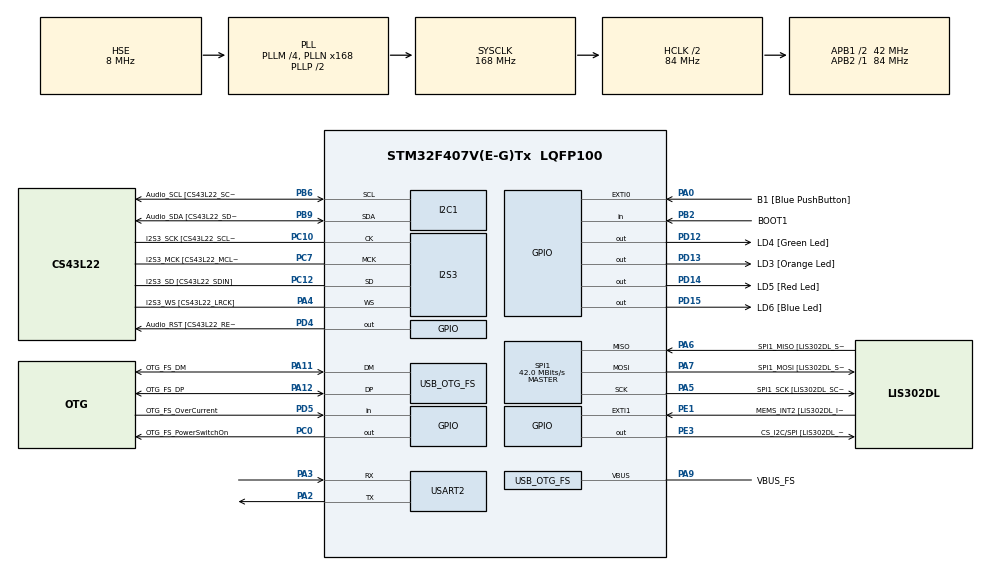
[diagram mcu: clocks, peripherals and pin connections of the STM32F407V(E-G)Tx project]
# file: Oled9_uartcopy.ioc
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I2C1.I2C_Mode=I2C_Fast
I2S3.AudioFreq=I2S_AUDIOFREQ_16K
I2S3.AudioFreq-Half_Duplex_Master=I2S_AUDIOFREQ_96K
I2S3.ErrorAudioFreq=1.72 %
I2S3.ErrorAudioFreq-Half_Duplex_Master=0.8 %
I2S3.FullDuplexMode=I2S_FULLDUPLEXMODE_DISABLE
I2S3.Instance=SPI$Index
I2S3.RealAudioFreq=16.276 KHz
I2S3.RealAudioFreq-Half_Duplex_Master=96.774 KHz
I2S3.VirtualMode=I2S_MODE_MASTER
Mcu.Family=STM32F4
Mcu.Name=STM32F407V(E-G)Tx
Mcu.Package=LQFP100
NVIC.OTG_FS_IRQn=true\:0\:0\:false\:false\:true\:true\:true\:true
NVIC.PriorityGroup=NVIC_PRIORITYGROUP_0
PA0-WKUP.GPIO_Label=B1 [Blue PushButton]
PA0-WKUP.GPIO_ModeDefaultEXTI=GPIO_MODE_EVT_RISING
PA0-WKUP.GPIO_PuPd=GPIO_NOPULL
PA0-WKUP.Signal=GPXTI0
PA10.GPIO_Label=OTG_FS_ID
PA10.GPIO_Mode=GPIO_MODE_AF_PP
PA10.GPIO_PuPd=GPIO_NOPULL
PA10.GPIO_Speed=GPIO_SPEED_FREQ_LOW
PA10.Signal=USB_OTG_FS_ID
PA11.GPIO_Label=OTG_FS_DM
PA11.GPIO_Mode=GPIO_MODE_AF_PP
PA11.GPIO_PuPd=GPIO_NOPULL
PA11.GPIO_Speed=GPIO_SPEED_FREQ_LOW
PA11.Mode=Host_Only
PA11.Signal=USB_OTG_FS_DM
PA12.GPIO_Label=OTG_FS_DP
PA12.GPIO_Mode=GPIO_MODE_AF_PP
PA12.GPIO_PuPd=GPIO_NOPULL
PA12.GPIO_Speed=GPIO_SPEED_FREQ_LOW
PA12.Mode=Host_Only
PA12.Signal=USB_OTG_FS_DP
PA13.GPIO_Label=SWDIO
PA13.Mode=Serial_Wire
PA13.Signal=SYS_JTMS-SWDIO
PA14.GPIO_Label=SWCLK
PA14.Mode=Serial_Wire
PA14.Signal=SYS_JTCK-SWCLK
PA2.Mode=Asynchronous
PA2.Signal=USART2_TX
PA3.Mode=Asynchronous
PA3.Signal=USART2_RX
PA4.GPIO_Label=I2S3_WS [CS43L22_LRCK]
PA4.GPIO_Mode=GPIO_MODE_AF_PP
PA4.GPIO_PuPd=GPIO_NOPULL
PA4.GPIO_Speed=GPIO_SPEED_FREQ_LOW
PA4.Mode=Half_Duplex_Master
PA4.Signal=I2S3_WS
PA5.GPIO_Label=SPI1_SCK [LIS302DL_SCL/SPC]
PA5.GPIO_Mode=GPIO_MODE_AF_PP
PA5.GPIO_PuPd=GPIO_NOPULL
PA5.GPIO_Speed=GPIO_SPEED_FREQ_LOW
PA5.Mode=Full_Duplex_Master
PA5.Signal=SPI1_SCK
PA6.GPIO_Label=SPI1_MISO [LIS302DL_SDO]
PA6.GPIO_Mode=GPIO_MODE_AF_PP
PA6.GPIO_PuPd=GPIO_NOPULL
PA6.GPIO_Speed=GPIO_SPEED_FREQ_LOW
PA6.Mode=Full_Duplex_Master
PA6.Signal=SPI1_MISO
PA7.GPIO_Label=SPI1_MOSI [LIS302DL_SDA/SDI/SDO]
PA7.GPIO_Mode=GPIO_MODE_AF_PP
PA7.GPIO_PuPd=GPIO_NOPULL
PA7.GPIO_Speed=GPIO_SPEED_FREQ_LOW
PA7.Mode=Full_Duplex_Master
PA7.Signal=SPI1_MOSI
PA9.GPIO_Label=VBUS_FS
PA9.GPIO_Mode=GPIO_MODE_INPUT
PA9.GPIO_PuPd=GPIO_NOPULL
PA9.Mode=Activate_VBUS
PA9.Signal=USB_OTG_FS_VBUS
PB10.GPIO_Label=CLK_IN [MP45DT02_CLK]
PB10.GPIO_Mode=GPIO_MODE_AF_PP
PB10.GPIO_PuPd=GPIO_NOPULL
PB10.GPIO_Speed=GPIO_SPEED_FREQ_LOW
PB10.Signal=I2S2_CK
PB2.GPIO_Label=BOOT1
PB2.GPIO_Mode=GPIO_MODE_INPUT
PB2.GPIO_PuPd=GPIO_NOPULL
PB2.Signal=GPIO_Input
PB3.GPIO_Label=SWO
PB3.Signal=SYS_JTDO-SWO
PB6.GPIO_Label=Audio_SCL [CS43L22_SCL]
PB6.GPIO_Mode=GPIO_MODE_AF_OD
PB6.GPIO_Pu=GPIO_PULLUP
PB6.GPIO_PuPd=GPIO_NOPULL
PB6.GPIO_Speed=GPIO_SPEED_FREQ_LOW
PB6.Mode=I2C
PB6.Signal=I2C1_SCL
PB9.GPIO_Label=Audio_SDA [CS43L22_SDA]
PB9.GPIO_Mode=GPIO_MODE_AF_OD
PB9.GPIO_Pu=GPIO_PULLUP
PB9.GPIO_PuPd=GPIO_NOPULL
PB9.GPIO_Speed=GPIO_SPEED_FREQ_LOW
PB9.Mode=I2C
PB9.Signal=I2C1_SDA
PC0.GPIO_Label=OTG_FS_PowerSwitchOn
PC0.GPIO_PuPd=GPIO_NOPULL
PC0.GPIO_Speed=GPIO_SPEED_FREQ_LOW
PC0.PinState=GPIO_PIN_SET
PC0.Signal=GPIO_Output
PC10.GPIO_Label=I2S3_SCK [CS43L22_SCLK]
PC10.GPIO_Mode=GPIO_MODE_AF_PP
PC10.GPIO_PuPd=GPIO_NOPULL
PC10.GPIO_Speed=GPIO_SPEED_FREQ_LOW
PC10.Mode=Half_Duplex_Master
PC10.Signal=I2S3_CK
PC12.GPIO_Label=I2S3_SD [CS43L22_SDIN]
PC12.GPIO_Mode=GPIO_MODE_AF_PP
PC12.GPIO_PuPd=GPIO_NOPULL
PC12.GPIO_Speed=GPIO_SPEED_FREQ_LOW
PC12.Mode=Half_Duplex_Master
PC12.Signal=I2S3_SD
PC14-OSC32_IN.GPIO_Label=PC14-OSC32_IN
PC14-OSC32_IN.Mode=LSE-External-Oscillator
PC14-OSC32_IN.Signal=RCC_OSC32_IN
PC15-OSC32_OUT.GPIO_Label=PC15-OSC32_OUT
PC15-OSC32_OUT.Mode=LSE-External-Oscillator
PC15-OSC32_OUT.Signal=RCC_OSC32_OUT
PC3.GPIO_Label=PDM_OUT [MP45DT02_DOUT]
PC3.GPIO_Mode=GPIO_MODE_AF_PP
PC3.GPIO_PuPd=GPIO_NOPULL
PC3.GPIO_Speed=GPIO_SPEED_FREQ_LOW
PC3.Signal=I2S2_SD
PC7.GPIO_Label=I2S3_MCK [CS43L22_MCLK]
PC7.GPIO_Mode=GPIO_MODE_AF_PP
PC7.GPIO_PuPd=GPIO_NOPULL
PC7.GPIO_Speed=GPIO_SPEED_FREQ_LOW
PC7.Mode=Master_Clock_Activated
PC7.Signal=I2S3_MCK
PD12.GPIO_Label=LD4 [Green Led]
PD12.GPIO_PuPd=GPIO_NOPULL
PD12.GPIO_Speed=GPIO_SPEED_FREQ_LOW
PD12.Signal=GPIO_Output
PD13.GPIO_Label=LD3 [Orange Led]
PD13.GPIO_PuPd=GPIO_NOPULL
PD13.GPIO_Speed=GPIO_SPEED_FREQ_LOW
PD13.Signal=GPIO_Output
PD14.GPIO_Label=LD5 [Red Led]
PD14.GPIO_PuPd=GPIO_NOPULL
PD14.GPIO_Speed=GPIO_SPEED_FREQ_LOW
PD14.Signal=GPIO_Output
PD15.GPIO_Label=LD6 [Blue Led]
PD15.GPIO_PuPd=GPIO_NOPULL
PD15.GPIO_Speed=GPIO_SPEED_FREQ_LOW
PD15.Signal=GPIO_Output
PD4.GPIO_Label=Audio_RST [CS43L22_RESET]
PD4.GPIO_PuPd=GPIO_NOPULL
PD4.GPIO_Speed=GPIO_SPEED_FREQ_LOW
PD4.Signal=GPIO_Output
PD5.GPIO_Label=OTG_FS_OverCurrent
PD5.GPIO_Mode=GPIO_MODE_INPUT
PD5.GPIO_PuPd=GPIO_NOPULL
PD5.Signal=GPIO_Input
PE1.GPIO_Label=MEMS_INT2 [LIS302DL_INT2]
PE1.GPIO_ModeDefaultEXTI=GPIO_MODE_EVT_RISING
PE1.GPIO_PuPd=GPIO_NOPULL
PE1.Signal=GPXTI1
PE3.GPIO_Label=CS_I2C/SPI [LIS302DL_CS_I2C/SPI]
PE3.GPIO_PuPd=GPIO_NOPULL
PE3.GPIO_Speed=GPIO_SPEED_FREQ_LOW
PE3.Signal=GPIO_Output
PH0-OSC_IN.GPIO_Label=PH0-OSC_IN
PH0-OSC_IN.Mode=HSE-External-Oscillator
PH0-OSC_IN.Signal=RCC_OSC_IN
PH1-OSC_OUT.GPIO_Label=PH1-OSC_OUT
PH1-OSC_OUT.Mode=HSE-External-Oscillator
PH1-OSC_OUT.Signal=RCC_OSC_OUT
ProjectManager.HeapSize=0x200
ProjectManager.StackSize=0x400
ProjectManager.TargetToolchain=STM32CubeIDE
RCC.48MHZClocksFreq_Value=48000000
RCC.AHBCLKDivider=RCC_SYSCLK_DIV2
RCC.AHBFreq_Value=84000000
RCC.APB1CLKDivider=RCC_HCLK_DIV2
RCC.APB1Freq_Value=42000000
RCC.APB1TimFreq_Value=84000000
RCC.APB2Freq_Value=84000000
RCC.APB2TimFreq_Value=84000000
RCC.CortexFreq_Value=84000000
RCC.HCLKFreq_Value=84000000
RCC.HSE_VALUE=8000000
RCC.HSI_VALUE=16000000
RCC.PLLI2SN=50
RCC.PLLM=4
RCC.PLLN=168
RCC.PLLQ=7
RCC.SYSCLKFreq_VALUE=168000000
RCC.SYSCLKSource=RCC_SYSCLKSOURCE_PLLCLK
RCC.VCOOutputFreq_Value=336000000
SPI1.BaudRatePrescaler=SPI_BAUDRATEPRESCALER_2
SPI1.BaudRatePrescaler-Full_Duplex_Master=SPI_BAUDRATEPRESCALER_2
SPI1.CalculateBaudRate=42.0 MBits/s
SPI1.CalculateBaudRate-Full_Duplex_Master=42.0 MBits/s
SPI1.Direction=SPI_DIRECTION_2LINES
SPI1.Mode=SPI_MODE_MASTER
SPI1.Mode-Full_Duplex_Master=SPI_MODE_MASTER
SPI1.VirtualType=VM_MASTER
USART2.VirtualMode=VM_ASYNC
USB_HOST.BSP.number=1
USB_HOST.USBH_HandleTypeDef-CDC_FS=hUsbHostFS
USB_HOST.VirtualModeFS=Cdc
USB_HOST0.BSP.STBoard=false
USB_HOST0.BSP.api=Unknown
USB_HOST0.BSP.instance=PC0
USB_HOST0.BSP.ip=GPIO
USB_HOST0.BSP.mode=Output
USB_HOST0.BSP.name=Drive_VBUS_FS
USB_HOST0.BSP.solution=PC0
USB_OTG_FS.VirtualMode=Host_Only
USB_OTG_FS.phy_itface=HCD_PHY_EMBEDDED
VP_USB_HOST_VS_USB_HOST_CDC_FS.Mode=CDC_FS
board=STM32F407G-DISC1

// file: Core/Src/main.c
/* USER CODE BEGIN Header */
/**
  ******************************************************************************
  * @file           : main.c
  * @brief          : Main program body
  ******************************************************************************
  * @attention
  *
  * Copyright (c) 2024 STMicroelectronics.
  * All rights reserved.
  *
  * This software is licensed under terms that can be found in the LICENSE file
  * in the root directory of this software component.
  * If no LICENSE file comes with this software, it is provided AS-IS.
  *
  ******************************************************************************
  */
/* USER CODE END Header */
#include "main.h"
#include "usb_host.h"

/* USER CODE BEGIN Includes */
#include "ssd1306.h"
#include "ssd1306_fonts.h"
#include "string.h"

// Button pin definitions
// Button pin definitions
#define BUTTON_UP_PIN  GPIO_PIN_0
#define BUTTON_DOWN_PIN  GPIO_PIN_2
#define BUTTON_SELECT_PIN  GPIO_PIN_4
#define BUTTON_PORT GPIOD
/* USER CODE END Includes */

I2C_HandleTypeDef hi2c1;

I2S_HandleTypeDef hi2s3;

SPI_HandleTypeDef hspi1;

UART_HandleTypeDef huart2;

void SystemClock_Config(void);
static void MX_GPIO_Init(void);
static void MX_I2C1_Init(void);
static void MX_I2S3_Init(void);
static void MX_SPI1_Init(void);
static void MX_USART2_UART_Init(void);
void MX_USB_HOST_Process(void);

int main(void)
{

  /* USER CODE BEGIN 1 */

	//global aşama seç değişkenleri tanımlanıyor:
	//burada şimdi kontrol tanımlama
    int sayac1=0;
	// Diğer değişken tanımlamaları
	int yukaributonbas;
	int asagibutonbas;
	int onaybutonbas;
	int art = 0;
	int mantik = 1;
	int screen_switch = 0;
	int menu2 = 0;
	int state = 1;
	int control = 0;
	int rtnMainPage = 1;//rtnMainpage 1 yaptım ürün ve zaman yönetimine girsin diye
	int upbuton = 0;
	int bottombuton = 0;
	int pagecroos = 0;
	int choseProduct = 0;
	char* products[] = {"pano sistem ", "dataloger", "pompa sistem","geri"};
	int productscounter[]={-1,-1,-1};//üretilen ürün sayısı dizisi
	int giris=0;
	int control_cikis=0;
	int cnttime=0;
	int  whichMonths[]={0,0,0};

	// Global KESME değişkenlerİ
	char rxBuffer[256]; // 256 baytlık veri tamponu
	extern UART_HandleTypeDef huart2;

  /* USER CODE END 1 */

  /* MCU Configuration--------------------------------------------------------*/

  /* Reset of all peripherals, Initializes the Flash interface and the Systick. */
  HAL_Init();

  /* Configure the system clock */
  SystemClock_Config();

  /* Initialize all configured peripherals */
  MX_GPIO_Init();
  MX_I2C1_Init();
  MX_I2S3_Init();
  MX_SPI1_Init();
  MX_USB_HOST_Init();
  MX_USART2_UART_Init();
  /* USER CODE BEGIN 2 */
  ssd1306_Init();
  ssd1306_Fill(White);
  ssd1306_UpdateScreen();

  /* USER CODE END 2 */

  /* Infinite loop */
  /* USER CODE BEGIN WHILE */
  // Önceki buton durumlarını saklamak için değişkenler
       int prevButtonState1 = 0;
       int prevButtonState2 = 0;
       int prevButtonState3 = 0;

       // LED durumlarını saklamak için değişkenler
       int ledState1 = 0;
       int ledState2 = 0;
       int ledState3 = 0;
       //MENU SAYACI
       int menu = 0;

//TAHMİN KESMESİ
       // UART kesme geri çağırma fonksiyonu
       void HAL_UART_RxCpltCallback(UART_HandleTypeDef *huart) {
           if (huart->Instance == USART2) {
               // OLED ekranı temizle ve veri yazdır
               ssd1306_Fill(Black);
               ssd1306_SetCursor(0, 0);
               SSD1306_Puts(rxBuffer, &Font_7x10, 1);
               ssd1306_UpdateScreen();

               // Veri üzerinde tahmin yap
               PredictFunc(rxBuffer);

               // Buffer'ı temizle
               memset(rxBuffer, 0, sizeof(rxBuffer));

               // Tekrar veri alımını başlat
               HAL_UART_Receive_IT(&huart2, (uint8_t*)rxBuffer, sizeof(rxBuffer));
           }
       }

       void updateDisplay(int menu)
       {
           ssd1306_Fill(Black);
           ssd1306_SetCursor(0, 0);
           ssd1306_WriteString("is Sistemi\n", Font_7x10, White);
           if (menu == 0)
           {
               ssd1306_SetCursor(0, 20);
               ssd1306_WriteString("> tahminler\n", Font_7x10, White);
               ssd1306_SetCursor(0, 30);
               ssd1306_WriteString("urunler\n", Font_7x10, White);
           }
           else if (menu == 1)
           {
               ssd1306_SetCursor(0, 20);
               ssd1306_WriteString("tahminler\n", Font_7x10, White);
               ssd1306_SetCursor(0, 30);
               ssd1306_WriteString("> urunler\n", Font_7x10, White);
           }
           ssd1306_UpdateScreen();
       }
//burada ay şeçim işlemleri yapılıyor
       void TimeManager(int whichPrd) {
           printf("time manager       time manager\n");
           ssd1306_WriteString("Ay Secimi", Font_7x10, White);

           int twoCntOnayBtn = 0;
           int cnt = 0;
           cnttime++;
           while(cnttime > 1) {
               // Ekran özelliklerini belirle
               ssd1306_Fill(Black); // Ekranı temizle
               ssd1306_SetCursor(0, 40); // İmleci konumlandır

               // Yukarı buton basma durumu
               if(HAL_GPIO_ReadPin(BUTTON_PORT, BUTTON_UP_PIN) == GPIO_PIN_SET) {
                   cnt++;
                   if(cnt >= 9) {
                       cnt = 9;
                   }
               }

               // Aşağı buton basma durumu
               if(HAL_GPIO_ReadPin(BUTTON_PORT, BUTTON_DOWN_PIN) == GPIO_PIN_SET) {
                   cnt--;
                   if(cnt <= 0) {
                       cnt = 1;
                   }
               }

               // Onay butonu basma durumu
               if(HAL_GPIO_ReadPin(BUTTON_PORT, BUTTON_SELECT_PIN) == GPIO_PIN_SET) {
                   twoCntOnayBtn++;
                   if(twoCntOnayBtn > 1) {
                       cnttime = 0;
                       rtnMainPage = 0;
                       break;
                   }
               }

               // Ayları ekrana yazdır
               switch(cnt) {
                   case 1:
                       whichMonths[whichPrd] = 1;
                       ssd1306_WriteString("ocak", Font_7x10, White);
                       break;
                   case 2:
                       whichMonths[whichPrd] = 2;
                       ssd1306_WriteString("subat", Font_7x10, White);
                       break;
                   case 3:
                       whichMonths[whichPrd] = 3;
                       ssd1306_WriteString("mart", Font_7x10, White);
                       break;
                   case 4:
                       whichMonths[whichPrd] = 4;
                       ssd1306_WriteString("nisan", Font_7x10, White);
                       break;
                   case 5:
                       whichMonths[whichPrd] = 5;
                       ssd1306_WriteString("mayis", Font_7x10, White);
                       break;
                   case 6:
                       whichMonths[whichPrd] = 6;
                       ssd1306_WriteString("haziran", Font_7x10, White);
                       break;
                   case 7:
                       whichMonths[whichPrd] = 7;
                       ssd1306_WriteString("temmuz", Font_7x10, White);
                       break;
                   case 8:
                       whichMonths[whichPrd] = 8;
                       ssd1306_WriteString("agustos", Font_7x10, White);
                       break;
                   case 9:
                       whichMonths[whichPrd] = 9;
                       ssd1306_WriteString("eylul", Font_7x10, White);
                       break;
               }

               // Ekranı güncelle
               ssd1306_UpdateScreen();
               HAL_Delay(200);
           }
       }

       void ProductManager(int whichproduct) {
           printf("Product Manager\n");
           int uretilenproduct = productscounter[whichproduct];
           int cntrmanage = 0;

           while (control_cikis) {
               ssd1306_Fill(Black); // Ekranı temizle
               ssd1306_SetCursor(0, 16); // Başlangıç konumu

               if(productscounter[whichproduct] < 0) {
                   productscounter[whichproduct] = 0;
               }

               if (cntrmanage == 0) {
                   char buffer[20];
                   sprintf(buffer, ">artir %d     ", productscounter[whichproduct]);
                   ssd1306_WriteString(buffer, Font_7x10, White);
                   ssd1306_SetCursor(0, 32);
                   ssd1306_WriteString("azalt", Font_7x10, White);
                   ssd1306_SetCursor(0, 48);
                   ssd1306_WriteString("cikis", Font_7x10, White);
               } else if (cntrmanage == 1) {
                   ssd1306_WriteString("artir", Font_7x10, White);
                   ssd1306_SetCursor(0, 32);
                   char buffer[20];
                   sprintf(buffer, ">azalt %d     ", productscounter[whichproduct]);
                   ssd1306_WriteString(buffer, Font_7x10, White);
                   ssd1306_SetCursor(0, 48);
                   ssd1306_WriteString("cikis", Font_7x10, White);
               } else if (cntrmanage == 2) {
                   ssd1306_WriteString("artir", Font_7x10, White);
                   ssd1306_SetCursor(0, 32);
                   ssd1306_WriteString("azalt", Font_7x10, White);
                   ssd1306_SetCursor(0, 48);
                   ssd1306_WriteString(">cikis", Font_7x10, White);
               }

               ssd1306_UpdateScreen(); // Ekranı güncelle

               if (HAL_GPIO_ReadPin(BUTTON_PORT, BUTTON_UP_PIN) == GPIO_PIN_SET) { // yukaributon basma durumu
                   cntrmanage--;
                   HAL_Delay(200); // Debounce için kısa bir gecikme
               }

               if (HAL_GPIO_ReadPin(BUTTON_PORT, BUTTON_DOWN_PIN) == GPIO_PIN_SET) { // asagibuton basma durumu
                   cntrmanage++;
                   HAL_Delay(200); // Debounce için kısa bir gecikme
               }

               if (cntrmanage < 0) cntrmanage = 0;
               if (cntrmanage > 2) cntrmanage = 2;

               if (HAL_GPIO_ReadPin(BUTTON_PORT, BUTTON_SELECT_PIN) == GPIO_PIN_SET) {
                   if (cntrmanage == 0) {
                       productscounter[whichproduct]++;
                   } else if (cntrmanage == 1) {
                       productscounter[whichproduct]--;
                   } else if (cntrmanage == 2) {
                       control_cikis = 0;
                   }
                   printf("products counter: %d\n", productscounter[whichproduct]);
                   printf("hangi ürün: %d\n", whichproduct);
               }

               HAL_Delay(10); // Döngü gecikmesi
           }
       }

//burada yapay zeka ile tahmin işlemleri yapılıyor

       void Predictionfunc() {
    	   ssd1306_Fill(Black);
    	   ssd1306_SetCursor(0, 0);
           // Buton durumlarını oku
           int yukaributonbas = HAL_GPIO_ReadPin(BUTTON_PORT, BUTTON_UP_PIN);
           int asagibutonbas = HAL_GPIO_ReadPin(BUTTON_PORT, BUTTON_DOWN_PIN);
           int onaybutonbas = HAL_GPIO_ReadPin(BUTTON_PORT, BUTTON_SELECT_PIN);

           // Ekrana basılacak dizi
           char ekranArray[4][30]; // Maksimum 30 karakter içerecek şekilde ayarlandı
           // Ekran ayarlamaları

           // ekran.clearDisplay(); // Ekranı temizle
           // ekran.setTextSize(1); // Yazı tipi boyutu1
           // ekran.setTextColor(WHITE); // Renk beyaz
           // ekran.setCursor(0, 10);

           int productguess[3];
           char datagemini[100] = "bos";
           char elements[3][30];
           int count = 0;

           // whichmonths ve product counter gönder
           // esp32 ye soruyu gönderme
           char ai_data[100] = "+";
           char temp[10];

           // Serial.println("productscounter:");
           for (int x = 0; x < 3; x++) {
               sprintf(temp, "%d,", productscounter[x]);
               strcat(ai_data, temp);
           }
           strcat(ai_data, "*");
           // Serial.println("whichMonths:");
           for (int y = 0; y < 3; y++) {
               sprintf(temp, "%d,", whichMonths[y]);
               strcat(ai_data, temp);
           }
           strcat(ai_data, "+");

        //   ssd1306_WriteString(ai_data, Font_7x10, White);

           //ESP32 VERİ GÖNDERİMİ BAŞARILIMI KONTROL ET
           // Veri gönderim durumu kontrol ediliyor
              HAL_StatusTypeDef uartStatus;
              uartStatus = HAL_UART_Transmit(&huart2, (uint8_t*)ai_data, strlen(ai_data), HAL_MAX_DELAY);  // ESP32'ye veri gönder

              // Eğer veri gönderimi başarılıysa LED'i söndür
              if (uartStatus == HAL_OK) {

            	  HAL_GPIO_WritePin(LD4_GPIO_Port, LD4_Pin, GPIO_PIN_SET);  // LED YAK

              } else {
                  HAL_GPIO_WritePin(LD4_GPIO_Port, LD4_Pin, GPIO_PIN_RESET);    // Veri gönderimi başarısız, LED'i SONDUR
              }

                             //  uint8_t received_char;
                    	    //   static char buffer[100];  // Gelen veriyi biriktirmek için bir buffer
                    	    //  static uint8_t buffer_index = 0;
                    	    //   static uint8_t buffer_size = sizeof(buffer) - 1; // Buffer boyutunu sakla

               uint8_t rx_buffer[500]; // Gelen veriyi tutacak buffer

           // ESP32'dan gelen veriyi alma
           while (1) {

        	   ssd1306_SetCursor(0, 10); // İkinci satıra set et (0,10)

        	   ssd1306_WriteString("sonuclar isleniyor....", Font_7x10, White);

        	   HAL_UART_Receive(&huart2, rx_buffer, sizeof(rx_buffer), 80000); // 1000ms timeout
        	   char received_string[100];
        	   strncpy(received_string, (char*)rx_buffer, sizeof(rx_buffer));
        	   if (strstr(received_string, "finish") != NULL) {
        	       // "finish" stringini bulduğunuzda yapılacak işlemler
        		   // String veriyi ekranda gösterin
        		   ssd1306_Fill(Black); // Ekranı temizle
        		   strcpy(datagemini, received_string);

        		   break;
        	   }

              ssd1306_UpdateScreen();
              HAL_Delay(13000);

               HAL_Delay(100);  // 1 sn bekle
           }

           // Veriyi işleme ve ekrana basma kısımları

              if (strstr(datagemini, "bos") == NULL) {

            	  //bu ekranı siyah yap
            	  ssd1306_Fill(Black); // Ekranı temizle
            	  ssd1306_SetCursor(0, 0);

                  char *token = strtok(datagemini, ",");
                  while (token != NULL && count < 3) {
                      strcpy(elements[count], token);
                      token = strtok(NULL, ",");
                      count++;
                  }

                  int intCount = 0;
                  for (int i = 0; i < count; i++) {
                      if (strcmp(elements[i], "finish") != 0) {
                          if (strcmp(elements[i], "yok") != 0) {
                              int value = atoi(elements[i]);
                              if (value >= 0) { // eksik üretilmiş
                                  sprintf(ekranArray[i], "%d.id %d eksik", i, value);
                              } else { // fazla üretilmiş
                                  value = -value;
                                  sprintf(ekranArray[i], "%d.id %d fazla", i, value);
                              }
                          } else {
                        	   sprintf(ekranArray[i], "%d.id uretim yok", i);
                        	 }

                          // Ekrana yazdırma işlemi
                          ssd1306_SetCursor(0, 10 + i * 10); // Satırları ayarlamak için y pozisyonunu artırın
                          ssd1306_WriteString(ekranArray[i], Font_7x10, White);

                          HAL_Delay(200);
                          intCount++;
                      }
                  }

                  ssd1306_UpdateScreen();
              }

           ssd1306_UpdateScreen();
           // ekran.display();
           HAL_Delay(2000);
       }

      /* void HAL_UART_RxCpltCallback(UART_HandleTypeDef *huart)
       {
       ssd1306_Fill(Black);
       ssd1306_SetCursor(0, 0);
       ssd1306_WriteString("HAL_UART_RxCpltCallback girdi", Font_7x10, White);

           if (huart->Instance == USART1)
           {
               // OLED ekranı temizle ve veri yazdır

               SSD1306_Puts(rxBuffer, &Font_7x10, 1);
               HAL_Delay(2000);
               // Buffer'ı temizle
               memset(rxBuffer, 0, sizeof(rxBuffer));

               // Tekrar veri alımını başlat
               HAL_UART_Receive_IT(&huart2, (uint8_t*)rxBuffer, sizeof(rxBuffer));

               // Ekranı güncelle
               }      ssd1306_UpdateScreen();

       }*/

        void SelectStage(){
        	  while (mantik) {
        	        art++;

        	        yukaributonbas = HAL_GPIO_ReadPin(BUTTON_PORT, BUTTON_UP_PIN);
        	        asagibutonbas = HAL_GPIO_ReadPin(BUTTON_PORT, BUTTON_DOWN_PIN);
        	        onaybutonbas = HAL_GPIO_ReadPin(BUTTON_PORT, BUTTON_SELECT_PIN);

        	        if (art == 1) {
        	            onaybutonbas = 0;
        	            HAL_Delay(500);
        	        }

        	        ssd1306_Fill(Black); // Ekranı temizle
        	        ssd1306_SetCursor(0, 0);

        	        if (yukaributonbas == 1) {
        	            menu2++;
        	            if (menu2 >= 1) { menu2 = 1; }
        	        }

        	        if (asagibutonbas == 1) {
        	            menu2--;
        	            if (menu2   <=0) { menu2 = 0; }
        	        }

        	        if (menu2 == 0) {
        	            ssd1306_WriteString("urun\n", Font_7x10, White);
        	            ssd1306_SetCursor(0,15);
        	            ssd1306_WriteString(">geri\n", Font_7x10, White);
        	            HAL_Delay(10);
        	        } else if (menu2 == 1) {
        	            ssd1306_WriteString(">urun\n", Font_7x10, White);
        	           ssd1306_SetCursor(0,15);
        	            ssd1306_WriteString("geri\n", Font_7x10, White);
        	            HAL_Delay(10);
        	        }
        	        ssd1306_SetCursor(0, 0);
        	        if (onaybutonbas == 1) {
        	            if (menu2 == 1) {
        	                int numProducts = sizeof(products) / sizeof(products[0]);
        	                screen_switch = 1;
        	                int currentPos = 0;
        	                int lineHeight = 16; // Her ürün arasındaki dikey boşluk

        	                while (state) {
        	                    ssd1306_Fill(Black); // Ekranı temizle
        	                    ssd1306_SetCursor(0, 0);

        	                    if (control >= 2) {
        	                        control--;
        	                        rtnMainPage = 1;
        	                    }

        	                    if (HAL_GPIO_ReadPin(BUTTON_PORT, BUTTON_UP_PIN) == 1) {
        	                        upbuton++;
        	                        currentPos -= 16;
        	                        if (currentPos < 0) {
        	                            currentPos = 0;
        	                        }
        	                        HAL_Delay(20);
        	                    }

        	                    if (HAL_GPIO_ReadPin(BUTTON_PORT, BUTTON_DOWN_PIN) == 1) {
        	                        bottombuton++;
        	                        currentPos += 16;
        	                        int maxPos = (numProducts - 1) * lineHeight;
        	                        if (currentPos > maxPos) {
        	                            currentPos = maxPos;
        	                        }
        	                        HAL_Delay(20);
        	                    }
        	                    ssd1306_WriteString("                 <-", Font_7x10, White);

        	                    for (int i = 0; i < numProducts; i++) {
                                      int yPos = i * lineHeight - currentPos;
        	                        if (yPos >= 0 && yPos < 64) {
        	                            ssd1306_SetCursor(0, yPos);

        	                            ssd1306_WriteString(products[i], Font_7x10, White);

        	                        }
        	                    }

        	                    if (HAL_GPIO_ReadPin(BUTTON_PORT, BUTTON_SELECT_PIN)== 1) {

        	                        pagecroos++;
        	                        if (pagecroos > 1 && (bottombuton >= 1 || upbuton >= 1)) {
        	                                  if (currentPos > 43) {
        	                                state = 0;
        	                                ssd1306_Fill(Black);
        	                                ssd1306_UpdateScreen();
        	                                break;
        	                            }
        	                            pagecroos = 0;
        	                            bottombuton = 0;
        	                            upbuton = 0;
        	                            choseProduct = (currentPos) / 19;

        	                            int productpage = 0;
        	                            while (1 && (rtnMainPage==1)) {

        	                            	//   HAL_GPIO_WritePin(LD4_GPIO_Port, LD4_Pin, 1);

        	                                ssd1306_Fill(Black);
        	                                ssd1306_SetCursor(0, 0);
                                               if (productpage <= 0) {
        	                                    ssd1306_WriteString("uretim\n", Font_7x10, White);
        	                                    ssd1306_SetCursor(0,15);
        	                                    ssd1306_WriteString(">zaman secim\n", Font_7x10, White);
        	                                    HAL_Delay(10);
        	                                } else if (productpage == 1) {
        	                                    ssd1306_WriteString(">uretim\n", Font_7x10, White);
        	                                   ssd1306_SetCursor(0,15);
        	                                    ssd1306_WriteString("zaman secim\n", Font_7x10, White);
        	                                    HAL_Delay(10);
        	                                }
        	                                if (HAL_GPIO_ReadPin(BUTTON_PORT, BUTTON_UP_PIN) == 1) {
        	                                    productpage++;
        	                                    if (productpage >= 1) { productpage = 1; }
        	                                }

        	                                if (HAL_GPIO_ReadPin(BUTTON_PORT, BUTTON_DOWN_PIN) == 1) {
        	                                    productpage--;

        	                                    if (productpage <= 0) { productpage = 0; }
        	                                }

        	                                if (HAL_GPIO_ReadPin(BUTTON_PORT, BUTTON_SELECT_PIN) == 1) {
        	                                    if (productpage == 1) {

        	                                        control_cikis = 1;
        	                                        ProductManager(choseProduct);
        	                                    }
        	                                    if (productpage == 0) {

        	                                        control++;
        	                                        TimeManager(choseProduct);
        	                                    }
        	                                }

        	                                HAL_Delay(100);
        	                                ssd1306_UpdateScreen();
        	                            }
        	                        }
        	                    }
        	                    ssd1306_UpdateScreen();
        	                    HAL_Delay(100);
        	                }
        	            }
        	            if (menu2 == 0) {
        	                screen_switch = 1;
        	                HAL_Delay(500);
        	            }
        	        }

        	        if (screen_switch == 1) {
        	            screen_switch = 0;
        	            menu = 0;
        	            giris = 0;
        	            menu2 = 0;
        	            state = 1;

        	            while (1) {
        	                ssd1306_Fill(Black);
        	                ssd1306_SetCursor(0, 0);
        	                ssd1306_WriteString("is Sistemi\n", Font_7x10, White);
        	                ssd1306_SetCursor(0, 15);
        	                yukaributonbas = HAL_GPIO_ReadPin(BUTTON_PORT, BUTTON_UP_PIN);
        	                asagibutonbas = HAL_GPIO_ReadPin(BUTTON_PORT, BUTTON_DOWN_PIN);
        	                onaybutonbas = HAL_GPIO_ReadPin(BUTTON_PORT, BUTTON_SELECT_PIN);

        	                if (yukaributonbas == 1) {
        	                    menu++;
        	                    if (menu >= 1) { menu = 1; }
        	                    HAL_Delay(200);
        	                }

        	                if (asagibutonbas == 1) {
        	                    menu--;
        	                    if (menu >= 2) { menu = 0; }
        	                    HAL_Delay(200);
        	                }

        	                if (onaybutonbas == 1) {

        	                    if (menu == 1) {
        	                        HAL_Delay(30);

                                //BURADA PREDİCTFUNC
        	                        ssd1306_Fill(Black);
        	                        ssd1306_SetCursor(0, 0);
        	                        ssd1306_WriteString("Tahmin ediliyor", Font_7x10, White);
        	                        ssd1306_UpdateScreen();
                                    HAL_Delay(100);

        	                       Predictionfunc();
        	                    }
        	                    if (menu == 0) {
        	                        ssd1306_Fill(Black);
        	                        ssd1306_SetCursor(0, 15);
        	                        SelectStage();
        	                    }
        	                    HAL_Delay(100);
        	                }

        	                if (menu == 0) {
        	                    ssd1306_WriteString("tahminler\n", Font_7x10, White);
        	                   ssd1306_SetCursor(0,35);
        	                    ssd1306_WriteString(">urunler\n", Font_7x10, White);
        	                    HAL_Delay(20);
        	                    //ana ekrana tekrar giriş
        	                    if (HAL_GPIO_ReadPin(BUTTON_PORT, BUTTON_SELECT_PIN)== 1)
        	                    {

        	                    		 art = 0;
        	                    		 mantik = 1;
        	                    		 screen_switch = 0;
        	                    		 menu2 = 0;
        	                    		 state = 1;
        	                    		 control = 0;
        	                    		 rtnMainPage = 1;//rtnMainpage 1 yaptım ürün ve zaman yönetimine girsin diye
        	                    		 upbuton = 0;
        	                    		 bottombuton = 0;
        	                    		 pagecroos = 0;
        	                    		 choseProduct = 0;
        	                    		//char* products[] = {"pano sistem ", "dataloger", "pompa sistem","geri"};
        	                    		 giris=0;
        	                    		 control_cikis=0;
        	                    		 cnttime=0;
        	                    		 for(int i = 0; i < 3; i++) {
        	                    		  productscounter[i] = -1; // Her elemanı sıfırla değiştir
        	                    		   }
        	                    		 for(int i = 0; i < 3; i++) {
        	                    	     whichMonths[i] = 0; // Her elemanı sıfırla değiştir
        	                    	          }

        	                    	 SelectStage();
        	                    }

        	                } else if (menu == 1) {
        	                    ssd1306_WriteString(">tahminler\n", Font_7x10, White);
        	                    ssd1306_SetCursor(0,35);
        	                    ssd1306_WriteString("urunler\n", Font_7x10, White);
        	                    HAL_Delay(20);
        	                    //ana ekran tekrar ğiriş
        	                    if (HAL_GPIO_ReadPin(BUTTON_PORT, BUTTON_SELECT_PIN)== 1)
        	                     {

        	                                                        	 art = 0;
        	                            	                    		 mantik = 1;
        	                            	                    		 screen_switch = 0;
        	                            	                    		 menu2 = 0;
        	                            	                    		 state = 1;
        	                            	                    		 control = 0;
        	                            	                    		 rtnMainPage = 1;//rtnMainpage 1 yaptım ürün ve zaman yönetimine girsin diye
        	                            	                    		 upbuton = 0;
        	                            	                    		 bottombuton = 0;
        	                            	                    		 pagecroos = 0;
        	                            	                    		 choseProduct = 0;
        	                            	                    		//char* products[] = {"pano sistem ", "dataloger", "pompa sistem","geri"};
        	                            	                    		 for(int i = 0; i < 3; i++) {
        	                            	                    		     productscounter[i] = -1; // Her elemanı sıfırla değiştir
        	                            	                    		 }
	 giris=0;
        	                            	                    		 control_cikis=0;
        	                            	                    		 cnttime=0;
        	                            	                    		 for(int i = 0; i < 3; i++) {
        	                            	                    		     whichMonths[i] = 0; // Her elemanı sıfırla değiştir
        	                            	                    		 }

        	                         ssd1306_Fill(Black);
        	                         ssd1306_SetCursor(0, 0);
        	                        ssd1306_WriteString("Tahmin ediliyor", Font_7x10, White);
        	                       ssd1306_UpdateScreen();
        	                       HAL_Delay(100);
        	                    	  Predictionfunc();
        	                     }
        	                }

        	                ssd1306_UpdateScreen();
        	            }
        	        }

        	        ssd1306_UpdateScreen();
        	    }

        }

    while (1)
    {
    /* USER CODE END WHILE */
    MX_USB_HOST_Process();

    /* USER CODE BEGIN 3 */
      // Mevcut buton durumlarını oku
                int buttonState1 = (int)HAL_GPIO_ReadPin(BUTTON_PORT, BUTTON_UP_PIN);
                int buttonState2 = (int)HAL_GPIO_ReadPin(BUTTON_PORT, BUTTON_DOWN_PIN);
                int buttonState3 = (int)HAL_GPIO_ReadPin(BUTTON_PORT, BUTTON_SELECT_PIN);

                // Button 1 kontrolü
                if (buttonState1 == 1 && prevButtonState1 == 0) {
                    ledState1 = !ledState1; // LED durumunu değiştir
                    HAL_GPIO_WritePin(LD6_GPIO_Port, LD6_Pin, ledState1); // LED'i yak veya söndür
                    //MENU İŞLEMLERİ  UP BUTTONU
                               menu++;
                               if (menu > 1) menu = 1;
                               updateDisplay(menu);
                               HAL_Delay(200); // Debounce delay

                }
                prevButtonState1 = buttonState1; // Buton durumunu güncelle

                // Button 2 kontrolü
                if (buttonState2 == 1 && prevButtonState2 == 0) {
                    ledState2 = !ledState2; // LED durumunu değiştir
                    HAL_GPIO_WritePin(LD5_GPIO_Port, LD5_Pin, ledState2); // LED'i yak veya söndür

                    //MENU İŞLEMLERİ DOWN BUTTONU
                               menu--;
                               if (menu < 0) menu = 0;
                               updateDisplay(menu);
                               HAL_Delay(200); // Debounce delay
                }
                prevButtonState2 = buttonState2; // Buton durumunu güncelle

                // Button 3 kontrolü
                if (buttonState3 == 1 && prevButtonState3 == 0) {
                    ledState3 = !ledState3; // LED durumunu değiştir
                    HAL_GPIO_WritePin(LD3_GPIO_Port, LD3_Pin, ledState3); // LED'i yak veya söndür

                    //UUATRRT İŞLEMLERİ KISMI!!!!!!!!!!!!!!!!!!!!!!!!!!!!!!!!!!!11
//!!!!!!!!!!!!!!!!!!!!!!!!!!!!!!!!!!!!!!!!!!!!!!!!!!!!!!!!!!!!!!!!!!!!!1
                    /*
                     *
                     * uint8_t txData[] = '+1,2,*,"mart","haziran"+'; // Gönderilecek veri
                    uint8_t rxData[10]; // Alınan veri buffer'ı
                    // Veriyi gönder
                           HAL_UART_Transmit(&huart2, (uint8_t *)txData, sizeof(txData), 100);
                           HAL_Delay(1000); // 1 saniye bekle

                           // Veriyi al
                           if (HAL_UART_Receive(&huart2, rxData, sizeof(rxData), 1000) == HAL_OK)
                           {
                               // Alınan veriyi işleme
                               HAL_UART_Transmit(&huart2, rxData, sizeof(rxData), 100);
                           }
*/

                               if (menu == 0)
                               {
                                   // Implement Predictionfunc logic

                                   //BURADA PREDİCTFUNC
           	                        ssd1306_Fill(Black);
           	                        ssd1306_SetCursor(0, 0);
           	                        ssd1306_WriteString("Tahmin ediliyor", Font_7x10, White);
           	                         ssd1306_UpdateScreen();
                                       HAL_Delay(1000);
                            	   Predictionfunc();

                               }
                               else if (menu == 1)
                               {

                                   // Implement Asamasec logic
                            	   SelectStage();
                               }
                               HAL_Delay(200); // Debounce delay
                }
                prevButtonState3 = buttonState3; // Buton durumunu güncelle

                // Biraz bekle (debouncing için)
                HAL_Delay(50); // 50 ms bekleme

    }

  /* USER CODE END 3 */
}

void SystemClock_Config(void)
{
  RCC_OscInitTypeDef RCC_OscInitStruct = {0};
  RCC_ClkInitTypeDef RCC_ClkInitStruct = {0};

  /** Configure the main internal regulator output voltage
  */
  __HAL_RCC_PWR_CLK_ENABLE();
  __HAL_PWR_VOLTAGESCALING_CONFIG(PWR_REGULATOR_VOLTAGE_SCALE1);

  /** Initializes the RCC Oscillators according to the specified parameters
  * in the RCC_OscInitTypeDef structure.
  */
  RCC_OscInitStruct.OscillatorType = RCC_OSCILLATORTYPE_HSE;
  RCC_OscInitStruct.HSEState = RCC_HSE_ON;
  RCC_OscInitStruct.PLL.PLLState = RCC_PLL_ON;
  RCC_OscInitStruct.PLL.PLLSource = RCC_PLLSOURCE_HSE;
  RCC_OscInitStruct.PLL.PLLM = 4;
  RCC_OscInitStruct.PLL.PLLN = 168;
  RCC_OscInitStruct.PLL.PLLP = RCC_PLLP_DIV2;
  RCC_OscInitStruct.PLL.PLLQ = 7;
  if (HAL_RCC_OscConfig(&RCC_OscInitStruct) != HAL_OK)
  {
    Error_Handler();
  }

  /** Initializes the CPU, AHB and APB buses clocks
  */
  RCC_ClkInitStruct.ClockType = RCC_CLOCKTYPE_HCLK|RCC_CLOCKTYPE_SYSCLK
                              |RCC_CLOCKTYPE_PCLK1|RCC_CLOCKTYPE_PCLK2;
  RCC_ClkInitStruct.SYSCLKSource = RCC_SYSCLKSOURCE_PLLCLK;
  RCC_ClkInitStruct.AHBCLKDivider = RCC_SYSCLK_DIV2;
  RCC_ClkInitStruct.APB1CLKDivider = RCC_HCLK_DIV2;
  RCC_ClkInitStruct.APB2CLKDivider = RCC_HCLK_DIV1;

  if (HAL_RCC_ClockConfig(&RCC_ClkInitStruct, FLASH_LATENCY_2) != HAL_OK)
  {
    Error_Handler();
  }
}

static void MX_I2C1_Init(void)
{

  hi2c1.Instance = I2C1;
  hi2c1.Init.ClockSpeed = 400000;
  hi2c1.Init.DutyCycle = I2C_DUTYCYCLE_2;
  hi2c1.Init.OwnAddress1 = 0;
  hi2c1.Init.AddressingMode = I2C_ADDRESSINGMODE_7BIT;
  hi2c1.Init.DualAddressMode = I2C_DUALADDRESS_DISABLE;
  hi2c1.Init.OwnAddress2 = 0;
  hi2c1.Init.GeneralCallMode = I2C_GENERALCALL_DISABLE;
  hi2c1.Init.NoStretchMode = I2C_NOSTRETCH_DISABLE;
  if (HAL_I2C_Init(&hi2c1) != HAL_OK)
  {
    Error_Handler();
  }

}

static void MX_I2S3_Init(void)
{

  hi2s3.Instance = SPI3;
  hi2s3.Init.Mode = I2S_MODE_MASTER_TX;
  hi2s3.Init.Standard = I2S_STANDARD_PHILIPS;
  hi2s3.Init.DataFormat = I2S_DATAFORMAT_16B;
  hi2s3.Init.MCLKOutput = I2S_MCLKOUTPUT_ENABLE;
  hi2s3.Init.AudioFreq = I2S_AUDIOFREQ_16K;
  hi2s3.Init.CPOL = I2S_CPOL_LOW;
  hi2s3.Init.ClockSource = I2S_CLOCK_PLL;
  hi2s3.Init.FullDuplexMode = I2S_FULLDUPLEXMODE_DISABLE;
  if (HAL_I2S_Init(&hi2s3) != HAL_OK)
  {
    Error_Handler();
  }

}

static void MX_SPI1_Init(void)
{

  /* SPI1 parameter configuration*/
  hspi1.Instance = SPI1;
  hspi1.Init.Mode = SPI_MODE_MASTER;
  hspi1.Init.Direction = SPI_DIRECTION_2LINES;
  hspi1.Init.DataSize = SPI_DATASIZE_8BIT;
  hspi1.Init.CLKPolarity = SPI_POLARITY_LOW;
  hspi1.Init.CLKPhase = SPI_PHASE_1EDGE;
  hspi1.Init.NSS = SPI_NSS_SOFT;
  hspi1.Init.BaudRatePrescaler = SPI_BAUDRATEPRESCALER_2;
  hspi1.Init.FirstBit = SPI_FIRSTBIT_MSB;
  hspi1.Init.TIMode = SPI_TIMODE_DISABLE;
  hspi1.Init.CRCCalculation = SPI_CRCCALCULATION_DISABLE;
  hspi1.Init.CRCPolynomial = 10;
  if (HAL_SPI_Init(&hspi1) != HAL_OK)
  {
    Error_Handler();
  }

}

static void MX_USART2_UART_Init(void)
{

  huart2.Instance = USART2;
  huart2.Init.BaudRate = 115200;
  huart2.Init.WordLength = UART_WORDLENGTH_8B;
  huart2.Init.StopBits = UART_STOPBITS_1;
  huart2.Init.Parity = UART_PARITY_NONE;
  huart2.Init.Mode = UART_MODE_TX_RX;
  huart2.Init.HwFlowCtl = UART_HWCONTROL_NONE;
  huart2.Init.OverSampling = UART_OVERSAMPLING_16;
  if (HAL_UART_Init(&huart2) != HAL_OK)
  {
    Error_Handler();
  }

}

static void MX_GPIO_Init(void)
{
  GPIO_InitTypeDef GPIO_InitStruct = {0};

  /* GPIO Ports Clock Enable */
  __HAL_RCC_GPIOE_CLK_ENABLE();
  __HAL_RCC_GPIOC_CLK_ENABLE();
  __HAL_RCC_GPIOH_CLK_ENABLE();
  __HAL_RCC_GPIOA_CLK_ENABLE();
  __HAL_RCC_GPIOB_CLK_ENABLE();
  __HAL_RCC_GPIOD_CLK_ENABLE();

  /*Configure GPIO pin Output Level */
  HAL_GPIO_WritePin(CS_I2C_SPI_GPIO_Port, CS_I2C_SPI_Pin, GPIO_PIN_RESET);

  /*Configure GPIO pin Output Level */
  HAL_GPIO_WritePin(OTG_FS_PowerSwitchOn_GPIO_Port, OTG_FS_PowerSwitchOn_Pin, GPIO_PIN_SET);

  /*Configure GPIO pin Output Level */
  HAL_GPIO_WritePin(GPIOD, LD4_Pin|LD3_Pin|LD5_Pin|LD6_Pin
                          |Audio_RST_Pin, GPIO_PIN_RESET);

  /*Configure GPIO pin : CS_I2C_SPI_Pin */
  GPIO_InitStruct.Pin = CS_I2C_SPI_Pin;
  GPIO_InitStruct.Mode = GPIO_MODE_OUTPUT_PP;
  GPIO_InitStruct.Pull = GPIO_NOPULL;
  GPIO_InitStruct.Speed = GPIO_SPEED_FREQ_LOW;
  HAL_GPIO_Init(CS_I2C_SPI_GPIO_Port, &GPIO_InitStruct);

  /*Configure GPIO pin : OTG_FS_PowerSwitchOn_Pin */
  GPIO_InitStruct.Pin = OTG_FS_PowerSwitchOn_Pin;
  GPIO_InitStruct.Mode = GPIO_MODE_OUTPUT_PP;
  GPIO_InitStruct.Pull = GPIO_NOPULL;
  GPIO_InitStruct.Speed = GPIO_SPEED_FREQ_LOW;
  HAL_GPIO_Init(OTG_FS_PowerSwitchOn_GPIO_Port, &GPIO_InitStruct);

  /*Configure GPIO pin : PDM_OUT_Pin */
  GPIO_InitStruct.Pin = PDM_OUT_Pin;
  GPIO_InitStruct.Mode = GPIO_MODE_AF_PP;
  GPIO_InitStruct.Pull = GPIO_NOPULL;
  GPIO_InitStruct.Speed = GPIO_SPEED_FREQ_LOW;
  GPIO_InitStruct.Alternate = GPIO_AF5_SPI2;
  HAL_GPIO_Init(PDM_OUT_GPIO_Port, &GPIO_InitStruct);

  /*Configure GPIO pin : B1_Pin */
  GPIO_InitStruct.Pin = B1_Pin;
  GPIO_InitStruct.Mode = GPIO_MODE_EVT_RISING;
  GPIO_InitStruct.Pull = GPIO_NOPULL;
  HAL_GPIO_Init(B1_GPIO_Port, &GPIO_InitStruct);

  /*Configure GPIO pin : BOOT1_Pin */
  GPIO_InitStruct.Pin = BOOT1_Pin;
  GPIO_InitStruct.Mode = GPIO_MODE_INPUT;
  GPIO_InitStruct.Pull = GPIO_NOPULL;
  HAL_GPIO_Init(BOOT1_GPIO_Port, &GPIO_InitStruct);

  /*Configure GPIO pin : CLK_IN_Pin */
  GPIO_InitStruct.Pin = CLK_IN_Pin;
  GPIO_InitStruct.Mode = GPIO_MODE_AF_PP;
  GPIO_InitStruct.Pull = GPIO_NOPULL;
  GPIO_InitStruct.Speed = GPIO_SPEED_FREQ_LOW;
  GPIO_InitStruct.Alternate = GPIO_AF5_SPI2;
  HAL_GPIO_Init(CLK_IN_GPIO_Port, &GPIO_InitStruct);

  /*Configure GPIO pins : LD4_Pin LD3_Pin LD5_Pin LD6_Pin
                           Audio_RST_Pin */
  GPIO_InitStruct.Pin = LD4_Pin|LD3_Pin|LD5_Pin|LD6_Pin
                          |Audio_RST_Pin;
  GPIO_InitStruct.Mode = GPIO_MODE_OUTPUT_PP;
  GPIO_InitStruct.Pull = GPIO_NOPULL;
  GPIO_InitStruct.Speed = GPIO_SPEED_FREQ_LOW;
  HAL_GPIO_Init(GPIOD, &GPIO_InitStruct);

  /*Configure GPIO pin : OTG_FS_OverCurrent_Pin */
  GPIO_InitStruct.Pin = OTG_FS_OverCurrent_Pin;
  GPIO_InitStruct.Mode = GPIO_MODE_INPUT;
  GPIO_InitStruct.Pull = GPIO_NOPULL;
  HAL_GPIO_Init(OTG_FS_OverCurrent_GPIO_Port, &GPIO_InitStruct);

  /*Configure GPIO pin : MEMS_INT2_Pin */
  GPIO_InitStruct.Pin = MEMS_INT2_Pin;
  GPIO_InitStruct.Mode = GPIO_MODE_EVT_RISING;
  GPIO_InitStruct.Pull = GPIO_NOPULL;
  HAL_GPIO_Init(MEMS_INT2_GPIO_Port, &GPIO_InitStruct);

}

void Error_Handler(void)
{
  __disable_irq();
  while (1)
  {
  }
}
